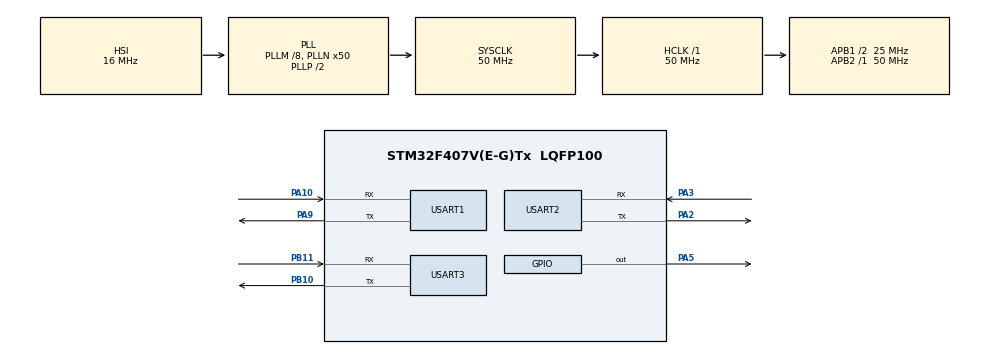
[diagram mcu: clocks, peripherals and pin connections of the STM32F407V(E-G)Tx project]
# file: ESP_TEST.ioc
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Mcu.Family=STM32F4
Mcu.Name=STM32F407V(E-G)Tx
Mcu.Package=LQFP100
NVIC.PriorityGroup=NVIC_PRIORITYGROUP_4
NVIC.USART1_IRQn=true\:0\:0\:false\:false\:true\:true\:true
NVIC.USART2_IRQn=true\:0\:0\:false\:false\:true\:true\:true
NVIC.USART3_IRQn=true\:0\:0\:false\:false\:true\:true\:true
PA10.Mode=Asynchronous
PA10.Signal=USART1_RX
PA2.Mode=Asynchronous
PA2.Signal=USART2_TX
PA3.Mode=Asynchronous
PA3.Signal=USART2_RX
PA5.Signal=GPIO_Output
PA9.Mode=Asynchronous
PA9.Signal=USART1_TX
PB10.Mode=Asynchronous
PB10.Signal=USART3_TX
PB11.Mode=Asynchronous
PB11.Signal=USART3_RX
PH0-OSC_IN.Mode=HSE-External-Oscillator
PH0-OSC_IN.Signal=RCC_OSC_IN
PH1-OSC_OUT.Mode=HSE-External-Oscillator
PH1-OSC_OUT.Signal=RCC_OSC_OUT
ProjectManager.HeapSize=0x200
ProjectManager.StackSize=0x400
ProjectManager.TargetToolchain=STM32CubeIDE
RCC.48MHZClocksFreq_Value=25000000
RCC.AHBFreq_Value=50000000
RCC.APB1CLKDivider=RCC_HCLK_DIV2
RCC.APB1Freq_Value=25000000
RCC.APB1TimFreq_Value=50000000
RCC.APB2Freq_Value=50000000
RCC.APB2TimFreq_Value=50000000
RCC.CortexFreq_Value=50000000
RCC.HCLKFreq_Value=50000000
RCC.HSE_VALUE=8000000
RCC.HSI_VALUE=16000000
RCC.LSE_VALUE=32768
RCC.PLLM=8
RCC.PLLN=50
RCC.SYSCLKFreq_VALUE=50000000
RCC.SYSCLKSource=RCC_SYSCLKSOURCE_PLLCLK
RCC.VCOOutputFreq_Value=100000000
USART1.VirtualMode=VM_ASYNC
USART2.VirtualMode=VM_ASYNC
USART3.VirtualMode=VM_ASYNC
board=custom

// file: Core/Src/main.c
/* USER CODE BEGIN Header */
/**
  ******************************************************************************
  * @file           : main.c
  * @brief          : Main program body
  ******************************************************************************
  * @attention
  *
  * <h2><center>&copy; Copyright (c) 2021 STMicroelectronics.
  * All rights reserved.</center></h2>
  *
  * This software component is licensed by ST under BSD 3-Clause license,
  * the "License"; You may not use this file except in compliance with the
  * License. You may obtain a copy of the License at:
  *                        opensource.org/licenses/BSD-3-Clause
  *
  ******************************************************************************
  */
/* USER CODE END Header */
#include "main.h"

/* USER CODE BEGIN Includes */
#include "ESP8266_HAL.h"

/* USER CODE END Includes */

UART_HandleTypeDef huart1;	// ESP8266 ile haberleşme
UART_HandleTypeDef huart2;	// Konsol ile haberleşme
UART_HandleTypeDef huart3;	// 1. işlemci ile haberleşme

/* USER CODE BEGIN PV */

// HTML KODLARIYLA SİTEMİZE GÖMÜLEN TEST DEĞİŞKENLERİ

int testVolt[6] = { 231 , 233 , 333 , 321 , 322 , 382 , 223 }  ;
int testTemp[6] = { 254 , 256 , 251 , 251 , 262 , 259 , 253 }  ;

// Siteye Aktarılan değerlerin digit digit ayrılması

char VoltVal_birler[6] = { 0 } ;
char VoltVal_ondabirler[6] = { 0 } ;
char VoltVal_yuzdebirler[6] =  { 0 } ;

char TempVal_onlar[6] = { 0 } ;
char TempVal_birler[6] = { 0 } ;
char TempVal_ondabirler[6] = { 0 } ;

int i=0;

int mcu1_input=0;
/* USER CODE END PV */

void SystemClock_Config(void);
static void MX_GPIO_Init(void);
static void MX_USART1_UART_Init(void);
static void MX_USART2_UART_Init(void);
static void MX_USART3_UART_Init(void);

int main(void)
{

  /* MCU Configuration--------------------------------------------------------*/

  /* Reset of all peripherals, Initializes the Flash interface and the Systick. */
  HAL_Init();

  /* Configure the system clock */
  SystemClock_Config();

  /* Initialize all configured peripherals */
  MX_GPIO_Init();
  MX_USART1_UART_Init();
  MX_USART2_UART_Init();
  MX_USART3_UART_Init();
  /* USER CODE BEGIN 2 */
  ESP_Init ("Nyctophilia", "GomuluSistemler");

  // ESP_Init ("TURKSAT-KABLONET-6DE0-2.4G", "b86aalesrw");
  /* USER CODE END 2 */

  /* Infinite loop */
  while (1)
  {

    /* USER CODE BEGIN 3 */

	  // ilgili kodlar ESP8266_HAL.c kütüphanesinde yazılmış olmaktadır.

	  if(mcu1_input==1)
	  {
		  Server_Start();
	  }
	  else
	  {

	  }

  }
  /* USER CODE END 3 */
}

void SystemClock_Config(void)
{
  RCC_OscInitTypeDef RCC_OscInitStruct = {0};
  RCC_ClkInitTypeDef RCC_ClkInitStruct = {0};

  /** Configure the main internal regulator output voltage
  */
  __HAL_RCC_PWR_CLK_ENABLE();
  __HAL_PWR_VOLTAGESCALING_CONFIG(PWR_REGULATOR_VOLTAGE_SCALE1);
  /** Initializes the RCC Oscillators according to the specified parameters
  * in the RCC_OscInitTypeDef structure.
  */
  RCC_OscInitStruct.OscillatorType = RCC_OSCILLATORTYPE_HSI;
  RCC_OscInitStruct.HSIState = RCC_HSI_ON;
  RCC_OscInitStruct.HSICalibrationValue = RCC_HSICALIBRATION_DEFAULT;
  RCC_OscInitStruct.PLL.PLLState = RCC_PLL_ON;
  RCC_OscInitStruct.PLL.PLLSource = RCC_PLLSOURCE_HSI;
  RCC_OscInitStruct.PLL.PLLM = 8;
  RCC_OscInitStruct.PLL.PLLN = 50;
  RCC_OscInitStruct.PLL.PLLP = RCC_PLLP_DIV2;
  RCC_OscInitStruct.PLL.PLLQ = 4;
  if (HAL_RCC_OscConfig(&RCC_OscInitStruct) != HAL_OK)
  {
    Error_Handler();
  }
  /** Initializes the CPU, AHB and APB buses clocks
  */
  RCC_ClkInitStruct.ClockType = RCC_CLOCKTYPE_HCLK|RCC_CLOCKTYPE_SYSCLK
                              |RCC_CLOCKTYPE_PCLK1|RCC_CLOCKTYPE_PCLK2;
  RCC_ClkInitStruct.SYSCLKSource = RCC_SYSCLKSOURCE_PLLCLK;
  RCC_ClkInitStruct.AHBCLKDivider = RCC_SYSCLK_DIV1;
  RCC_ClkInitStruct.APB1CLKDivider = RCC_HCLK_DIV2;
  RCC_ClkInitStruct.APB2CLKDivider = RCC_HCLK_DIV1;

  if (HAL_RCC_ClockConfig(&RCC_ClkInitStruct, FLASH_LATENCY_1) != HAL_OK)
  {
    Error_Handler();
  }
}

static void MX_USART1_UART_Init(void)
{

  huart1.Instance = USART1;
  huart1.Init.BaudRate = 115200;
  huart1.Init.WordLength = UART_WORDLENGTH_8B;
  huart1.Init.StopBits = UART_STOPBITS_1;
  huart1.Init.Parity = UART_PARITY_NONE;
  huart1.Init.Mode = UART_MODE_TX_RX;
  huart1.Init.HwFlowCtl = UART_HWCONTROL_NONE;
  huart1.Init.OverSampling = UART_OVERSAMPLING_16;
  if (HAL_UART_Init(&huart1) != HAL_OK)
  {
    Error_Handler();
  }

}

static void MX_USART2_UART_Init(void)
{

  huart2.Instance = USART2;
  huart2.Init.BaudRate = 115200;
  huart2.Init.WordLength = UART_WORDLENGTH_8B;
  huart2.Init.StopBits = UART_STOPBITS_1;
  huart2.Init.Parity = UART_PARITY_NONE;
  huart2.Init.Mode = UART_MODE_TX_RX;
  huart2.Init.HwFlowCtl = UART_HWCONTROL_NONE;
  huart2.Init.OverSampling = UART_OVERSAMPLING_16;
  if (HAL_UART_Init(&huart2) != HAL_OK)
  {
    Error_Handler();
  }

}

static void MX_USART3_UART_Init(void)
{

  huart3.Instance = USART3;
  huart3.Init.BaudRate = 115200;
  huart3.Init.WordLength = UART_WORDLENGTH_8B;
  huart3.Init.StopBits = UART_STOPBITS_1;
  huart3.Init.Parity = UART_PARITY_NONE;
  huart3.Init.Mode = UART_MODE_TX_RX;
  huart3.Init.HwFlowCtl = UART_HWCONTROL_NONE;
  huart3.Init.OverSampling = UART_OVERSAMPLING_16;
  if (HAL_UART_Init(&huart3) != HAL_OK)
  {
    Error_Handler();
  }

}

static void MX_GPIO_Init(void)
{
  GPIO_InitTypeDef GPIO_InitStruct = {0};

  /* GPIO Ports Clock Enable */
  __HAL_RCC_GPIOH_CLK_ENABLE();
  __HAL_RCC_GPIOA_CLK_ENABLE();
  __HAL_RCC_GPIOB_CLK_ENABLE();

  /*Configure GPIO pin Output Level */
  HAL_GPIO_WritePin(GPIOA, GPIO_PIN_5, GPIO_PIN_RESET);

  /*Configure GPIO pin : PA5 */
  GPIO_InitStruct.Pin = GPIO_PIN_5;
  GPIO_InitStruct.Mode = GPIO_MODE_OUTPUT_PP;
  GPIO_InitStruct.Pull = GPIO_NOPULL;
  GPIO_InitStruct.Speed = GPIO_SPEED_FREQ_LOW;
  HAL_GPIO_Init(GPIOA, &GPIO_InitStruct);

}

void Error_Handler(void)
{
}

/************************ (C) COPYRIGHT STMicroelectronics *****END OF FILE****/
